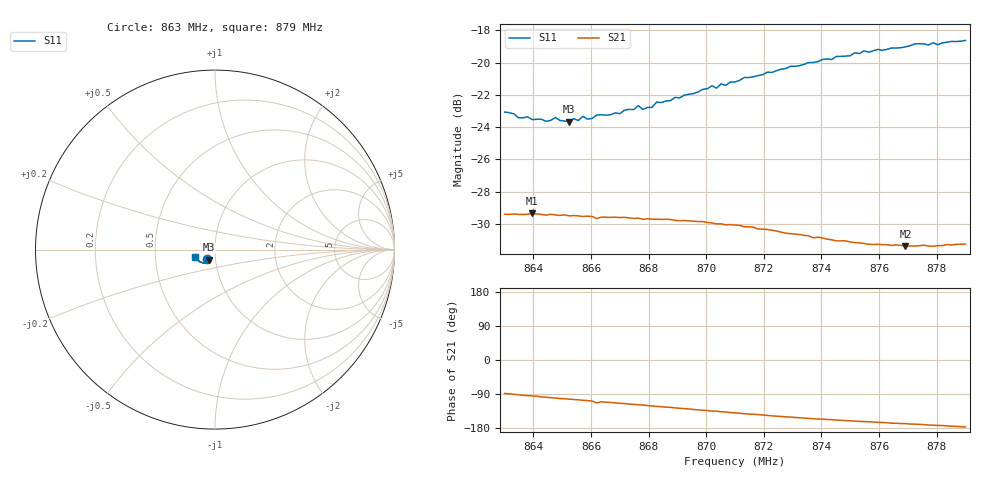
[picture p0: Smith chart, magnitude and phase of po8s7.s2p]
# HZ S RI R 50
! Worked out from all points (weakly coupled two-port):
!   101 points, 863 MHz to 879 MHz, reference 50 ohm
!   highest |S21| = -29.35 dB at 863.96 MHz (marker M1); lowest = -31.4 dB at 876.92 MHz (marker M2)
!   lowest |S11| = -23.7 dB at 865.24 MHz (marker M3), VSWR 1.14, Z = 46.4 - j5.18 ohm
!   |S11| at or under -10 dB: start of sweep to end of sweep
!   S12 and S22 are empty: the file has one direction only
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8.63e8  -0.0443 -0.0545  0.000966 -0.0339  0 0  0 0
8.6396e8  -0.0396 -0.0536  -0.00285 -0.034  0 0  0 0
8.6444e8  -0.0378 -0.0539  -0.00483 -0.0333  0 0  0 0
8.6476e8  -0.0385 -0.0556  -0.00608 -0.0332  0 0  0 0
8.6524e8  -0.0348 -0.0557  -0.00763 -0.0326  0 0  0 0
8.654e8  -0.0355 -0.0569  -0.00828 -0.0325  0 0  0 0
8.6556e8  -0.0352 -0.0561  -0.00872 -0.0323  0 0  0 0
8.6572e8  -0.0353 -0.0584  -0.00935 -0.032  0 0  0 0
8.6588e8  -0.0351 -0.0568  -0.00991 -0.0319  0 0  0 0
8.662e8  -0.0354 -0.059  -0.013 -0.0302  0 0  0 0
8.67e8  -0.0346 -0.0603  -0.0136 -0.0302  0 0  0 0
8.6764e8  -0.0358 -0.0643  -0.0156 -0.029  0 0  0 0
8.678e8  -0.0349 -0.0625  -0.0158 -0.0286  0 0  0 0
8.6844e8  -0.0371 -0.0654  -0.0179 -0.0273  0 0  0 0
8.702e8  -0.0436 -0.0727  -0.0224 -0.0226  0 0  0 0
8.7036e8  -0.0432 -0.0713  -0.0224 -0.0223  0 0  0 0
8.7052e8  -0.0467 -0.0722  -0.023 -0.0218  0 0  0 0
8.71e8  -0.0484 -0.0725  -0.0239 -0.0203  0 0  0 0
8.7372e8  -0.0674 -0.074  -0.026 -0.0121  0 0  0 0
8.7644e8  -0.0918 -0.0624  -0.0264 -0.00622  0 0  0 0
8.7692e8  -0.0954 -0.0586  -0.0264 -0.00573  0 0  0 0
8.79e8  -0.1102 -0.0399  -0.0274 -0.0016  0 0  0 0
